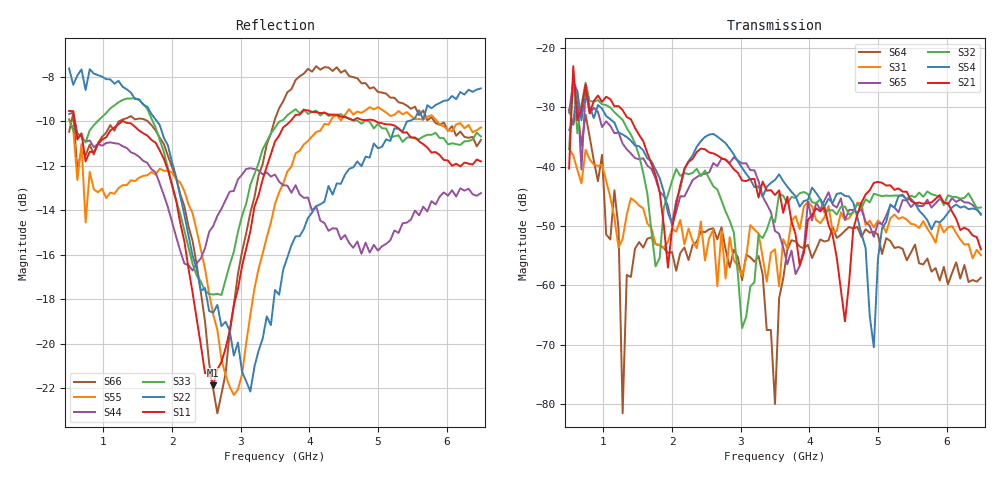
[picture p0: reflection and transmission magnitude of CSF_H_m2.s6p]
!Keysight Technologies,M9804A,MY58100912,A.14.10.03
!Date: Thursday, April 27, 2023 10:28:33
!Correction: S11(C  6-Port  )
!S12(C  6-Port  )
!S13(C  6-Port  )
!S14(C  6-Port  )
!S15(C  6-Port  )
!S16(C  6-Port  )
!S21(C  6-Port  )
!S22(C  6-Port  )
!S23(C  6-Port  )
!S24(C  6-Port  )
!S25(C  6-Port  )
!S26(C  6-Port  )
!S31(C  6-Port  )
!S32(C  6-Port  )
!S33(C  6-Port  )
!S34(C  6-Port  )
!S35(C  6-Port  )
!S36(C  6-Port  )
!S41(C  6-Port  )
!S42(C  6-Port  )
!S43(C  6-Port  )
!S44(C  6-Port  )
!S45(C  6-Port  )
!S46(C  6-Port  )
!S51(C  6-Port  )
!S52(C  6-Port  )
!S53(C  6-Port  )
!S54(C  6-Port  )
!S55(C  6-Port  )
!S56(C  6-Port  )
!S61(C  6-Port  )
!S62(C  6-Port  )
!S63(C  6-Port  )
!S64(C  6-Port  )
!S65(C  6-Port  )
!S66(C  6-Port  )
!S6P File: Measurement: :
# Hz S  RI  R 50
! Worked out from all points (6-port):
!   101 points, 500 MHz to 6.5 GHz, reference 50 ohm
!   strongest paths, dB at 500 MHz, 2 GHz, 3.5 GHz, 5 GHz, 6.5 GHz:
!     S21: -40.3, -50.5, -44.8, -42.6, -53.9
!     S54: -33.8, -49.5, -42.2, -55.5, -47.9
!     S32: -37.0, -42.4, -49.3, -44.8, -46.9
!     S65: -30.9, -49.9, -50.8, -49.5, -48.1
!     S31: -37.0, -50.4, -53.9, -49.1, -54.9
!     S64: -30.4, -54.4, -80.0, -51.4, -58.7
!   lowest |S11| = -21.9 dB at 2.6 GHz (marker M1), VSWR 1.18, Z = 42.8 + j1.93 ohm
!   |S11| at or under -10 dB: 581.3 MHz to 1.272 GHz (690.7 MHz wide, 74.5 % of centre); 1.293 GHz to 3.723 GHz (2.43 GHz wide, 96.9 % of centre); 4.968 GHz to end of sweep
